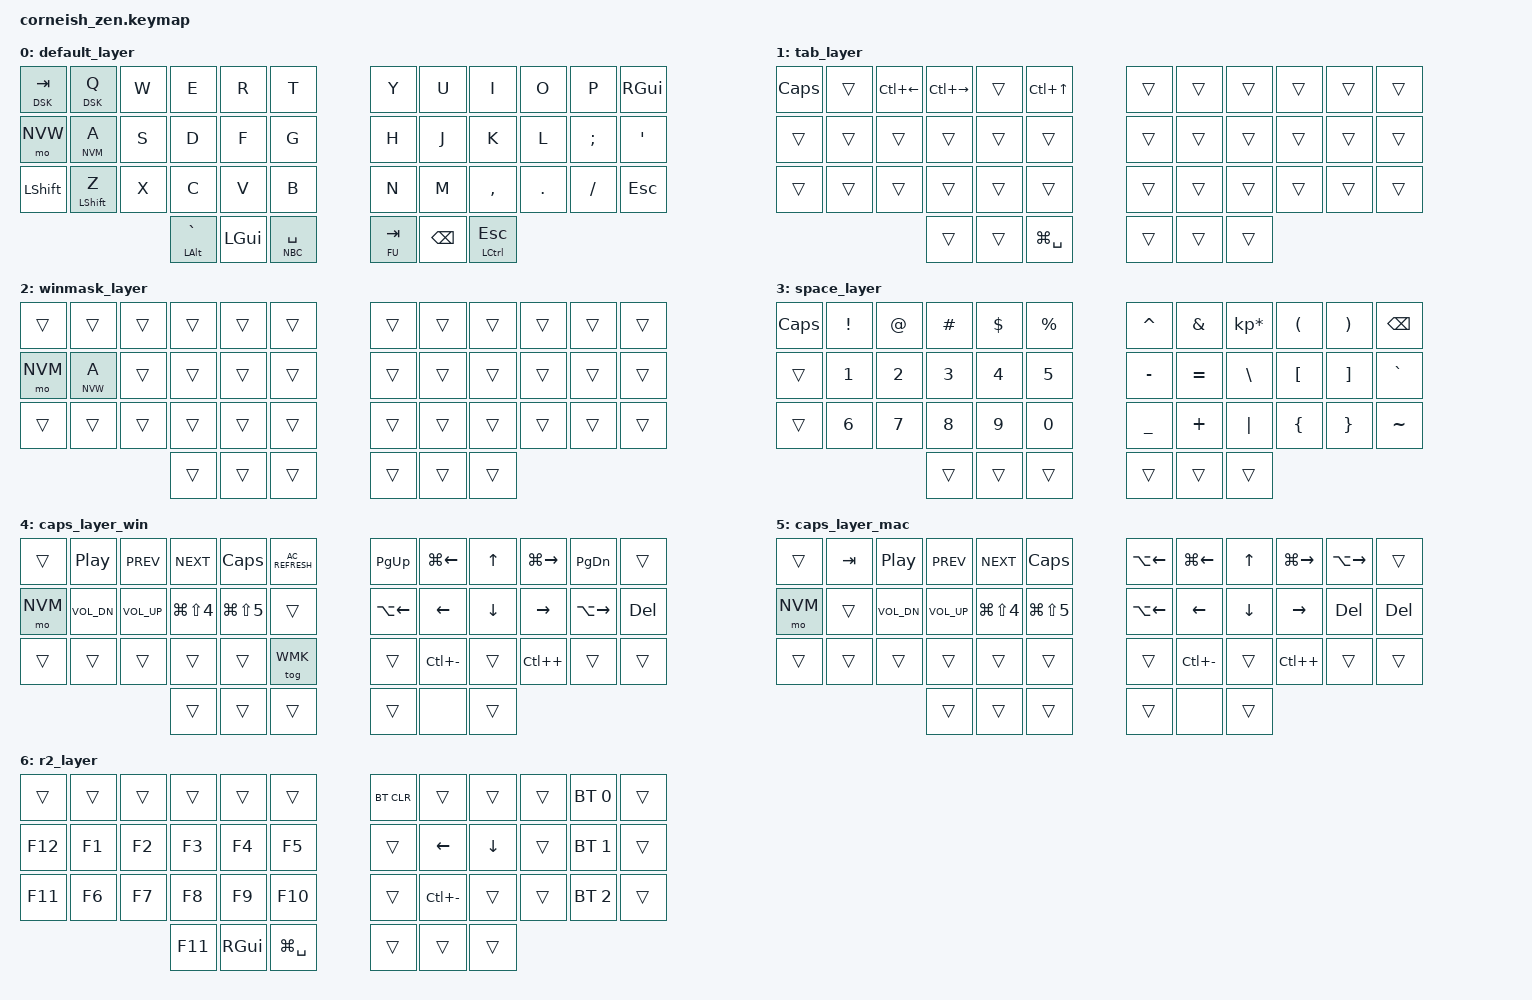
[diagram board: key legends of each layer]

#include <behaviors.dtsi>
#include <dt-bindings/zmk/keys.h>
#include <dt-bindings/zmk/bt.h>

#define DFT 0
#define DSK 1
#define WMK 2
#define NBC 3
#define NVW 4
#define NVM 5
#define FU 6

/ {
  chosen {
    zmk,matrix_transform = &default_transform;
    //zmk,matrix_transform = &five_column_transform;
  };
};

/ {
    combos {
        compatible = "zmk,combos";
        combo_ret {
            timeout-ms = <50>;
            key-positions = <21 22>;
            bindings = <&kp RETURN>;
        };
        combo_rsh {
            timeout-ms = <50>;
            key-positions = <33 34>;
            bindings = <&kp RSHFT>;
        };
        combo_squote {
            timeout-ms = <50>;
            key-positions = <19 20 21>;
            bindings = <&kp SQT>;
        };
        combo_backtick {
            timeout-ms = <50>;
            key-positions = <31 32 33>;
            bindings = <&kp GRAVE>;
        };
        combo_dquote {
            timeout-ms = <50>;
            key-positions = <7 8 9>;
            bindings = <&kp DQT>;
        };
    };
};
/ {
    keymap {
        compatible = "zmk,keymap";
        
        default_layer {
            bindings = <
                  &lt DSK TAB     &lt DSK Q    &kp W        &kp E        &kp R        &kp T         &kp Y        &kp U        &kp I        &kp O        &kp P        &kp RGUI    
                  &mo NVW      &lt NVM A    &kp S        &kp D        &kp F        &kp G         &kp H        &kp J        &kp K        &kp L        &kp SEMI     &kp SQT     
                  &kp LSHFT    &mt LSHFT Z        &kp X        &kp C        &kp V        &kp B         &kp N        &kp M        &kp COMMA    &kp DOT      &kp FSLH     &kp ESC     
                                                         &mt LALT GRAVE    &kp LGUI     &lt NBC SPACE    &lt FU TAB   &kp BSPC     &mt LCTRL ESC     
            >;
        };
        tab_layer {
            bindings = <
                   &kp CAPS    &trans       &kp LC(LEFT)    &kp LC(RIGHT)   &trans       &kp LC(UP)       &trans       &trans       &trans       &trans       &trans       &trans      
                  &trans       &trans       &trans       &trans       &trans       &trans        &trans       &trans       &trans       &trans       &trans       &trans      
                  &trans       &trans       &trans       &trans       &trans       &trans        &trans       &trans       &trans       &trans       &trans       &trans      
                                                         &trans       &trans       &kp LG(SPACE)    &trans       &trans       &trans      
            >;
        };
        winmask_layer {
            bindings = <
                  &trans       &trans       &trans       &trans       &trans       &trans        &trans       &trans       &trans       &trans       &trans       &trans      
                  &mo NVM      &lt NVW A    &trans       &trans       &trans       &trans        &trans       &trans       &trans       &trans       &trans       &trans      
                  &trans       &trans       &trans       &trans       &trans       &trans        &trans       &trans       &trans       &trans       &trans       &trans      
                                                         &trans       &trans       &trans        &trans       &trans       &trans      
            >;
        };
        space_layer {
            bindings = <
                  &kp CAPS     &kp EXCL     &kp AT       &kp HASH     &kp DLLR     &kp PRCNT     &kp CARET    &kp AMPS     &kp KP_MULTIPLY   &kp LPAR     &kp RPAR     &kp BSPC    
                  &trans       &kp NUMBER_1     &kp NUMBER_2     &kp NUMBER_3     &kp NUMBER_4     &kp NUMBER_5      &kp MINUS    &kp EQUAL    &kp BSLH     &kp LBKT     &kp RBKT     &kp GRAVE   
                  &trans       &kp NUMBER_6     &kp NUMBER_7     &kp NUMBER_8     &kp NUMBER_9     &kp NUMBER_0      &kp UNDER    &kp PLUS     &kp PIPE     &kp LBRC     &kp RBRC     &kp TILDE   
                                                         &trans       &trans       &trans        &trans       &trans       &trans      
            >;
        };
        caps_layer_win {
            bindings = <
                  &trans       &kp C_PP     &kp C_PREV   &kp C_NEXT   &kp CAPS     &kp C_AC_REFRESH     &kp PG_UP    &kp LG(LEFT)    &kp UP       &kp LG(RIGHT)   &kp PG_DN    &trans      
                  &mo NVM      &kp C_VOL_DN   &kp C_VOL_UP     &kp LG(LS(NUMBER_4))      &kp LG(LS(NUMBER_5))      &trans        &kp LA(LEFT)    &kp LEFT     &kp DOWN     &kp RIGHT    &kp LA(RIGHT)   &kp DEL     
                  &trans       &trans       &trans       &trans       &trans       &tog WMK      &trans       &kp LC(MINUS)   &trans       &kp LC(PLUS)    &trans       &trans      
                                                         &trans       &trans       &trans        &trans       &none        &trans      
            >;
        };
        caps_layer_mac {
            bindings = <
                  &trans       &kp TAB      &kp C_PP     &kp C_PREV   &kp C_NEXT   &kp CAPS      &kp LA(LEFT)    &kp LG(LEFT)    &kp UP       &kp LG(RIGHT)   &kp LA(RIGHT)   &trans      
                  &mo NVM      &trans       &kp C_VOL_DN   &kp C_VOL_UP     &kp LG(LS(NUMBER_4))      &kp LG(LS(NUMBER_5))       &kp LA(LEFT)    &kp LEFT     &kp DOWN     &kp RIGHT    &kp DEL      &kp DEL     
                  &trans       &trans       &trans       &trans       &trans       &trans        &trans       &kp LC(MINUS)   &trans       &kp LC(PLUS)    &trans       &trans      
                                                         &trans       &trans       &trans        &trans       &none        &trans      
            >;
        };
        r2_layer {
            bindings = <
                  &trans       &trans       &trans       &trans       &trans       &trans        &bt BT_CLR    &trans       &trans       &trans       &bt BT_SEL 0   &trans      
                  &kp F12      &kp F1       &kp F2       &kp F3       &kp F4       &kp F5        &trans       &kp LEFT     &kp DOWN     &trans       &bt BT_SEL 1   &trans      
                  &kp F11      &kp F6       &kp F7       &kp F8       &kp F9       &kp F10       &trans       &kp LC(MINUS)   &trans       &trans       &bt BT_SEL 2   &trans      
                                                         &kp F11      &kp RGUI     &kp LG(SPACE)    &trans       &trans       &trans      
            >;
        };
    };
};
    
